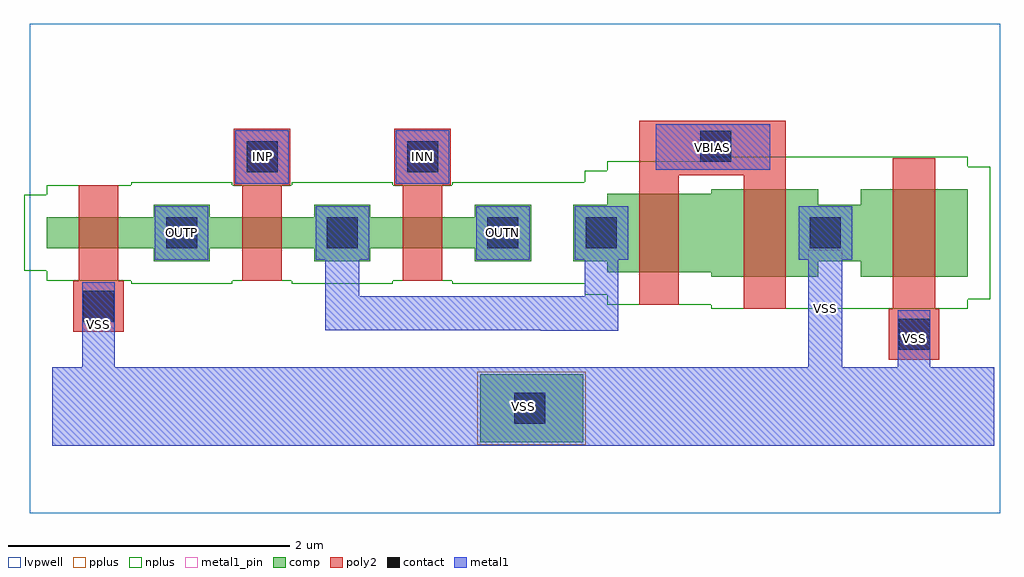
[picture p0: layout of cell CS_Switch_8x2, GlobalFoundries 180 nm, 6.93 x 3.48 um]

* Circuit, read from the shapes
.subckt CS_Switch_8x2 INN INP OUTN OUTP VBIAS VSS
XM1 OUTP VSS n1 VSS nfet_03v3 w=0.22u l=0.28u
XM2 n2 INP OUTP VSS nfet_03v3 w=0.22u l=0.28u
XM3 OUTN INN n2 VSS nfet_03v3 w=0.22u l=0.28u
XM4 n3 VBIAS n2 VSS nfet_03v3 w=0.56u l=0.28u
XM5 VSS VBIAS n3 VSS nfet_03v3 w=0.62u l=0.3u
XM6 n4 VSS VSS VSS nfet_03v3 w=0.62u l=0.3u
.ends

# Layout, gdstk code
import gdstk
lib = gdstk.Library(unit=1e-6, precision=1e-09)
def R(c, l, rs):  # rectangles x0, y0, x1, y1
    for r in rs: c.add(gdstk.rectangle(r[:2], r[2:], *l))
def A(c, l, x, y, w, h, nx, ny, dx, dy):  # array of equal rectangles
    R(c, l, [(x+i*dx, y+j*dy, x+i*dx+w, y+j*dy+h) for i in range(nx) for j in range(ny)])
comp = (22, 0)
poly2 = (30, 0)
pplus = (31, 0)
nplus = (32, 0)
contact = (33, 0)
metal1 = (34, 0)
metal1_pin = (34, 10)
lvpwell = (204, 0)

cs_switch_8x2 = lib.new_cell('CS_Switch_8x2')
A(cs_switch_8x2, comp, 3.01, 6.91, 0.4, 0.09, 3, 2, 1.14, 0.31)
R(cs_switch_8x2, comp, [(5.33,5.625,6.06,6.105), (6.97,6.8,7.73,6.83), (8.03,6.8,8.79,6.91), (6.23,6.83,7.73,6.91), (5.99,6.91,8.79,7.31), (2.25,7,5.69,7.22), (6.23,7.31,7.73,7.39), (8.03,7.31,8.79,7.42), (6.97,7.39,7.73,7.42)])
R(cs_switch_8x2, poly2, [(8.23,6.21,8.59,6.57), (2.44,6.41,2.8,6.77), (7.2,6.57,7.5,7.52), (8.26,6.57,8.56,7.64), (6.46,6.6,6.74,7.52), (2.48,6.77,2.76,7.45), (3.64,6.77,3.92,7.45), (4.78,6.77,5.06,7.45), (3.58,7.45,3.98,7.85), (4.72,7.45,5.12,7.85), (6.46,7.52,7.5,7.905)])
R(cs_switch_8x2, pplus, [(5.31,5.605,6.08,6.125)])
R(cs_switch_8x2, nplus, [(6.97,6.57,8.79,6.6), (6.23,6.6,8.79,6.64), (6.23,6.64,8.95,6.67), (6.07,6.67,8.95,6.75), (2.85,6.75,3.57,6.77), (3.99,6.75,4.71,6.77), (5.13,6.75,8.95,6.77), (2.25,6.77,8.95,6.84), (2.09,6.84,8.95,7.38), (2.25,7.38,8.95,7.45), (2.85,7.45,3.57,7.47), (3.99,7.45,4.71,7.47), (5.13,7.45,8.95,7.47), (6.07,7.47,8.95,7.55), (6.23,7.55,8.95,7.58), (6.23,7.58,8.79,7.62), (6.97,7.62,8.79,7.65)])
A(cs_switch_8x2, contact, 3.1, 7, 0.22, 0.22, 3, 1, 1.14, 0)
R(cs_switch_8x2, contact, [(5.57,5.755,5.79,5.975), (8.3,6.28,8.52,6.5), (2.51,6.48,2.73,6.7), (6.08,7,6.3,7.22), (7.67,7,7.89,7.22), (3.67,7.54,3.89,7.76), (4.81,7.54,5.03,7.76), (6.89,7.615,7.11,7.835)])
A(cs_switch_8x2, metal1, 3.02, 6.92, 0.38, 0.38, 3, 1, 1.14, 0)
R(cs_switch_8x2, metal1, [(2.29,5.6,8.98,6.155), (2.505,6.155,2.735,6.76), (7.66,6.155,7.9,6.92), (8.295,6.155,8.525,6.56), (5.76,6.415,6.31,6.42), (4.23,6.42,6.31,6.66), (4.23,6.66,4.47,6.92), (6.07,6.66,6.31,6.92), (6,6.92,6.38,7.3), (7.59,6.92,7.97,7.3), (3.59,7.46,3.97,7.84), (4.73,7.46,5.11,7.84), (6.575,7.56,7.39,7.88)])
R(cs_switch_8x2, metal1_pin, [(2.29,5.6,8.98,6.155), (2.505,6.155,2.735,6.76), (7.66,6.155,7.9,6.99), (8.295,6.155,8.525,6.56), (3.02,6.92,3.4,7.3), (5.3,6.92,5.68,7.3), (3.59,7.46,3.97,7.84), (4.73,7.46,5.11,7.84), (6.575,7.56,7.39,7.88)])
R(cs_switch_8x2, lvpwell, [(2.13,5.12,9.02,8.595)])
cs_switch_8x2.add(gdstk.Label('INP', (3.78,7.65), layer=34, texttype=10))
cs_switch_8x2.add(gdstk.Label('INN', (4.92,7.65), layer=34, texttype=10))
cs_switch_8x2.add(gdstk.Label('OUTP', (3.21,7.11), layer=34, texttype=10))
cs_switch_8x2.add(gdstk.Label('OUTN', (5.49,7.11), layer=34, texttype=10))
cs_switch_8x2.add(gdstk.Label('VBIAS', (6.982,7.72), layer=34, texttype=10))
cs_switch_8x2.add(gdstk.Label('VSS', (8.41,6.357), layer=34, texttype=10))
cs_switch_8x2.add(gdstk.Label('VSS', (7.78,6.572), layer=34, texttype=10))
cs_switch_8x2.add(gdstk.Label('VSS', (2.62,6.457), layer=34, texttype=10))
cs_switch_8x2.add(gdstk.Label('VSS', (5.635,5.877), layer=34, texttype=10))

lib.write_gds('CS_Switch_8x2.gds')
